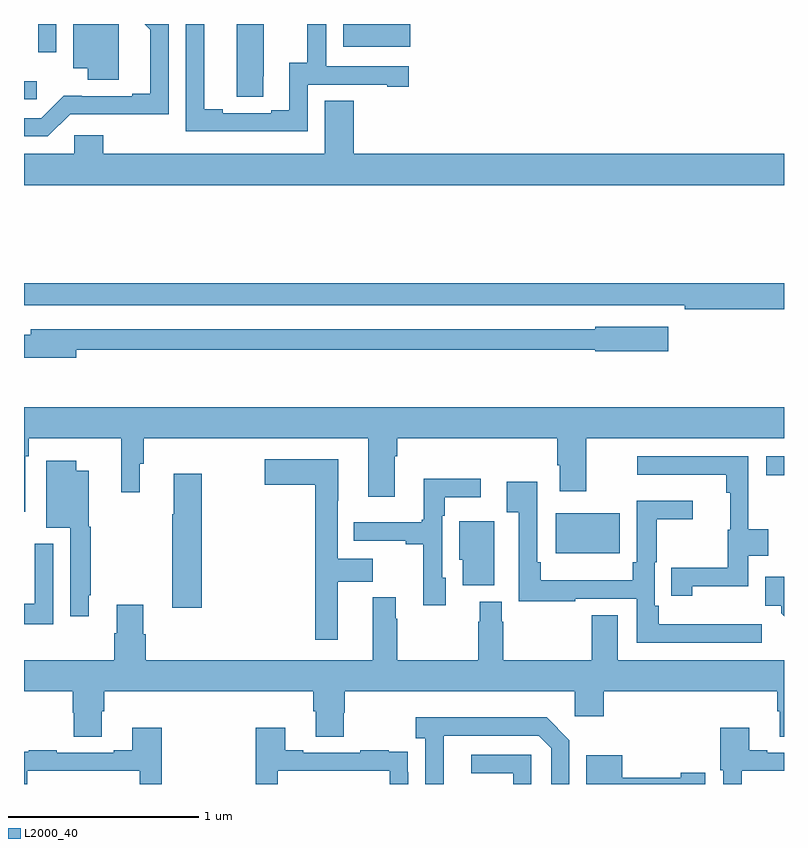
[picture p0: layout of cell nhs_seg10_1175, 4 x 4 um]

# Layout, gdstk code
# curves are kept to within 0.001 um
import gdstk
lib = gdstk.Library(unit=1e-6, precision=1e-09)
def R(c, l, rs):  # rectangles x0, y0, x1, y1
    for r in rs: c.add(gdstk.rectangle(r[:2], r[2:], *l))
def P(c, l, *ps):  # polygons
    for p in ps: c.add(gdstk.Polygon(p, *l))
L2000_40 = (2000, 40)

nhs_seg10_1175 = lib.new_cell('nhs_seg10_1175')
R(nhs_seg10_1175, L2000_40, [(173.798,1295.714,174.136,1295.926), (174.906,1296.124,175,1296.225), (171,1298.103,171.067,1298.2), (171.075,1298.352,171.171,1298.5), (172.68,1298.381,173.032,1298.5)])
P(nhs_seg10_1175, L2000_40, [(171.499,1298.5),(171.26,1298.5),(171.26,1298.267),(171.335,1298.267),(171.335,1298.206),(171.499,1298.206)],
  [(172.26,1298.224),(172.261,1298.224),(172.261,1298.5),(172.121,1298.5),(172.121,1298.116),(172.26,1298.116)],
  [(171.243,1298.025),(171.762,1298.024),(171.762,1298.5),(171.635,1298.5),(171.665,1298.47),(171.665,1298.134),(171.569,1298.134),(171.569,1298.121),(171.208,1298.122),(171.09,1298.004),(171,1298.004),(171,1297.908),(171.126,1297.908)],
  [(172.494,1298.181),(172.913,1298.181),(172.913,1298.169),(173.026,1298.169),(173.026,1298.277),(172.59,1298.277),(172.59,1298.5),(172.492,1298.5),(172.492,1298.297),(172.397,1298.297),(172.397,1298.046),(172.301,1298.046),(172.301,1298.031),(172.045,1298.031),(172.045,1298.051),(171.949,1298.051),(171.949,1298.5),(171.852,1298.5),(171.852,1297.935),(172.494,1297.935)],
  [(175,1297.816),(172.736,1297.816),(172.736,1298.096),(172.583,1298.096),(172.583,1297.816),(171.416,1297.816),(171.416,1297.914),(171.264,1297.914),(171.264,1297.816),(171,1297.816),(171,1297.652),(175,1297.652)],
  [(175,1297.136),(171,1297.136),(171,1297.02),(174.478,1297.02),(174.478,1297),(175,1297)],
  [(171.274,1296.786),(174.006,1296.786),(174.006,1296.778),(174.391,1296.778),(174.391,1296.907),(174.006,1296.907),(174.006,1296.894),(171.035,1296.894),(171.035,1296.865),(171,1296.865),(171,1296.743),(171.274,1296.743)],
  [(171.006,1296.224),(171.026,1296.224),(171.026,1296.32),(171.511,1296.32),(171.511,1296.036),(171.61,1296.036),(171.61,1296.186),(171.629,1296.186),(171.629,1296.32),(172.811,1296.32),(172.811,1296.012),(172.951,1296.012),(172.951,1296.224),(172.964,1296.224),(172.964,1296.32),(173.807,1296.32),(173.807,1296.178),(173.819,1296.178),(173.819,1296.042),(173.959,1296.042),(173.959,1296.32),(175,1296.32),(175,1296.484),(171,1296.484),(171,1295.934),(171.006,1295.934)],
  [(174.517,1295.54),(174.813,1295.54),(174.813,1295.702),(174.916,1295.702),(174.916,1295.842),(174.813,1295.842),(174.813,1296.225),(174.228,1296.225),(174.228,1296.128),(174.697,1296.128),(174.697,1296.032),(174.716,1296.032),(174.716,1295.838),(174.705,1295.838),(174.705,1295.638),(174.406,1295.638),(174.406,1295.49),(174.517,1295.49)],
  [(172.652,1295.564),(172.835,1295.564),(172.835,1295.686),(172.65,1295.686),(172.65,1295.99),(172.654,1295.99),(172.654,1296.208),(172.266,1296.208),(172.266,1296.074),(172.534,1296.074),(172.534,1295.259),(172.652,1295.259)],
  [(171.34,1295.494),(171.352,1295.494),(171.352,1295.853),(171.34,1295.853),(171.34,1296.148),(171.274,1296.148),(171.274,1296.202),(171.116,1296.202),(171.116,1295.849),(171.243,1295.849),(171.243,1295.382),(171.34,1295.382)],
  [(171.935,1296.133),(171.788,1296.133),(171.788,1295.92),(171.781,1295.92),(171.781,1295.427),(171.935,1295.427)],
  [(173.221,1295.586),(173.202,1295.586),(173.202,1295.912),(173.215,1295.912),(173.215,1296.009),(173.404,1296.009),(173.404,1296.107),(173.105,1296.107),(173.105,1295.89),(173.094,1295.89),(173.094,1295.878),(172.735,1295.878),(172.735,1295.781),(173.009,1295.781),(173.009,1295.761),(173.101,1295.761),(173.101,1295.442),(173.221,1295.442)],
  [(174.883,1295.342),(174.604,1295.342),(174.604,1295.341),(174.341,1295.341),(174.341,1295.437),(174.321,1295.437),(174.321,1295.668),(174.331,1295.668),(174.331,1295.893),(174.52,1295.893),(174.52,1295.992),(174.225,1295.992),(174.225,1295.668),(174.205,1295.668),(174.205,1295.572),(173.72,1295.572),(173.72,1295.668),(173.7,1295.668),(173.7,1296.091),(173.541,1296.091),(173.541,1295.931),(173.604,1295.931),(173.604,1295.463),(173.9,1295.463),(173.9,1295.475),(174.225,1295.475),(174.225,1295.244),(174.883,1295.244)],
  [(173.476,1295.78),(173.475,1295.78),(173.475,1295.883),(173.291,1295.883),(173.291,1295.679),(173.309,1295.679),(173.309,1295.545),(173.476,1295.545)],
  [(171.153,1295.764),(171.056,1295.764),(171.056,1295.449),(171,1295.449),(171,1295.34),(171.153,1295.34)],
  [(175,1295.59),(174.902,1295.59),(174.902,1295.438),(174.985,1295.438),(174.985,1295.399),(175,1295.384)],
  [(171.409,1294.882),(171.422,1294.882),(171.422,1294.988),(172.523,1294.988),(172.523,1294.882),(172.535,1294.882),(172.535,1294.75),(172.683,1294.75),(172.683,1294.875),(172.688,1294.875),(172.688,1294.988),(173.898,1294.988),(173.898,1294.857),(174.05,1294.857),(174.05,1294.988),(174.965,1294.988),(174.965,1294.882),(174.977,1294.882),(174.977,1294.75),(175,1294.75),(175,1295.152),(174.124,1295.152),(174.124,1295.389),(173.989,1295.389),(173.989,1295.152),(173.523,1295.152),(173.523,1295.354),(173.515,1295.354),(173.515,1295.46),(173.399,1295.46),(173.399,1295.354),(173.392,1295.354),(173.392,1295.152),(172.965,1295.152),(172.965,1295.369),(172.957,1295.369),(172.957,1295.482),(172.835,1295.482),(172.835,1295.152),(171.641,1295.152),(171.641,1295.289),(171.628,1295.289),(171.628,1295.443),(171.488,1295.443),(171.488,1295.294),(171.476,1295.294),(171.476,1295.152),(171,1295.152),(171,1294.988),(171.257,1294.988),(171.257,1294.875),(171.262,1294.875),(171.262,1294.75),(171.409,1294.75)],
  [(173.208,1294.555),(173.209,1294.755),(173.709,1294.755),(173.775,1294.689),(173.775,1294.5),(173.871,1294.5),(173.871,1294.731),(173.75,1294.852),(173.061,1294.852),(173.061,1294.742),(173.112,1294.742),(173.112,1294.5),(173.208,1294.5)],
  [(172.335,1294.569),(172.926,1294.569),(172.926,1294.5),(173.022,1294.5),(173.022,1294.562),(173.021,1294.562),(173.021,1294.671),(172.919,1294.671),(172.919,1294.678),(172.771,1294.678),(172.771,1294.665),(172.471,1294.665),(172.471,1294.678),(172.375,1294.678),(172.375,1294.795),(172.219,1294.795),(172.219,1294.5),(172.335,1294.5)],
  [(171.018,1294.569),(171.609,1294.569),(171.609,1294.5),(171.725,1294.5),(171.725,1294.795),(171.569,1294.795),(171.569,1294.678),(171.473,1294.678),(171.473,1294.665),(171.173,1294.665),(171.173,1294.678),(171.025,1294.678),(171.025,1294.671),(171,1294.671),(171,1294.5),(171.018,1294.5)],
  [(174.777,1294.569),(175,1294.569),(175,1294.665),(174.913,1294.665),(174.913,1294.678),(174.817,1294.678),(174.817,1294.795),(174.665,1294.795),(174.665,1294.572),(174.681,1294.572),(174.681,1294.5),(174.777,1294.5)],
  [(173.67,1294.653),(173.355,1294.653),(173.355,1294.557),(173.574,1294.557),(173.574,1294.5),(173.67,1294.5)],
  [(174.585,1294.558),(174.457,1294.558),(174.457,1294.534),(174.148,1294.534),(174.148,1294.651),(173.96,1294.651),(173.96,1294.5),(174.585,1294.5)])

lib.write_gds('nhs_seg10_1175.gds')
